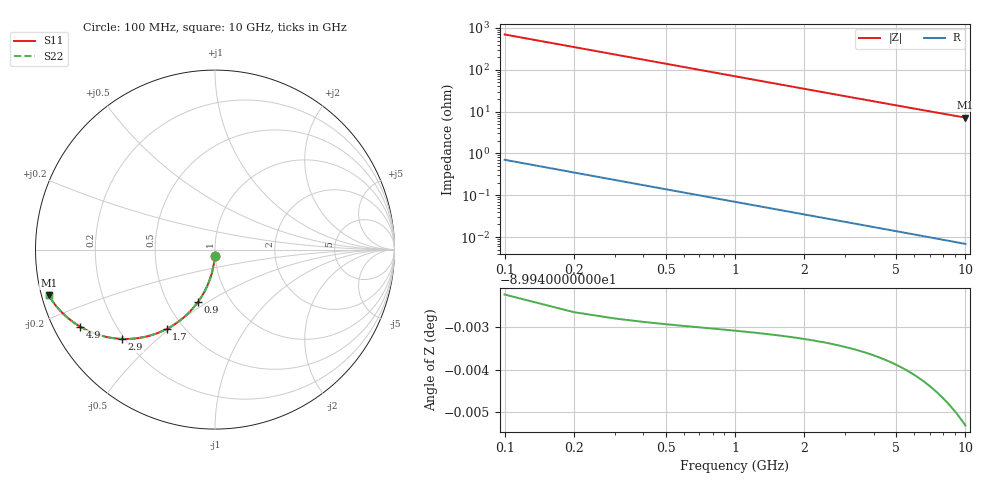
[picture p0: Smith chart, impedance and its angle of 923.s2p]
# Hz S RI R 50.00
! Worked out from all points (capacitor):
!   100 points, 100 MHz to 10 GHz, reference 50 ohm
!   read as one part in shunt: C = 2.28 pF near 100 MHz
!   lowest |Z| = 7.18 ohm at 10 GHz (marker M1)
!   S11 on the Smith chart (normalised r, x): 100 MHz: 0.99, -0.07; 900 MHz: 0.71, -0.45; 1.7 GHz: 0.40, -0.49; 2.9 GHz: 0.19, -0.39; 4.9 GHz: 0.08, -0.26; 10 GHz: 0.02, -0.14
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1e8  -0.0013 -0.0357  0.9987 -0.0358  0.9987 -0.0358  -0.0013 -0.0357
2e8  -0.00515 -0.0711  0.9948 -0.0713  0.9948 -0.0713  -0.00515 -0.0711
3e8  -0.0115 -0.1059  0.9885 -0.1062  0.9885 -0.1062  -0.0115 -0.1059
4e8  -0.0202 -0.14  0.9798 -0.1404  0.9798 -0.1404  -0.0202 -0.14
5e8  -0.0311 -0.173  0.9688 -0.1735  0.9688 -0.1735  -0.0311 -0.173
6e8  -0.0442 -0.2047  0.9558 -0.2054  0.9558 -0.2054  -0.0442 -0.2047
7e8  -0.0592 -0.2351  0.9408 -0.2358  0.9408 -0.2358  -0.0592 -0.2351
9e8  -0.094 -0.2909  0.9059 -0.2919  0.9059 -0.2919  -0.094 -0.2909
1.1e9  -0.1341 -0.3397  0.8659 -0.3409  0.8659 -0.3409  -0.1341 -0.3397
1.3e9  -0.1777 -0.3811  0.8223 -0.3824  0.8223 -0.3824  -0.1777 -0.3811
1.7e9  -0.2694 -0.4423  0.7305 -0.4441  0.7305 -0.4441  -0.2694 -0.4423
1.8e9  -0.2924 -0.4534  0.7075 -0.4553  0.7075 -0.4553  -0.2924 -0.4534
2.3e9  -0.4024 -0.4887  0.5976 -0.4911  0.5976 -0.4911  -0.4024 -0.4887
2.9e9  -0.5164 -0.4977  0.4835 -0.5008  0.4835 -0.5008  -0.5164 -0.4977
3.4e9  -0.5944 -0.4887  0.4056 -0.4923  0.4056 -0.4923  -0.5944 -0.4887
4.1e9  -0.6801 -0.4637  0.3199 -0.4681  0.3199 -0.4681  -0.6801 -0.4637
4.9e9  -0.7519 -0.4288  0.2481 -0.434  0.2481 -0.434  -0.7519 -0.4288
5.1e9  -0.7664 -0.4199  0.2336 -0.4253  0.2336 -0.4253  -0.7664 -0.4199
5.9e9  -0.8142 -0.3852  0.1857 -0.3916  0.1857 -0.3916  -0.8142 -0.3852
6.7e9  -0.8495 -0.3534  0.1504 -0.3606  0.1504 -0.3606  -0.8495 -0.3534
8.4e9  -0.8986 -0.2968  0.1014 -0.3059  0.1014 -0.3059  -0.8986 -0.2968
1e10  -0.9262 -0.2554  0.0737 -0.2663  0.0737 -0.2663  -0.9262 -0.2554
